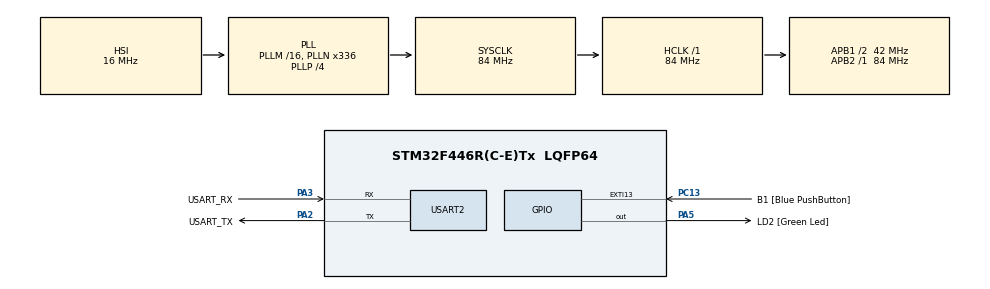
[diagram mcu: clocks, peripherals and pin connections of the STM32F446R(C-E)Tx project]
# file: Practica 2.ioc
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Mcu.Family=STM32F4
Mcu.Name=STM32F446R(C-E)Tx
Mcu.Package=LQFP64
NVIC.PriorityGroup=NVIC_PRIORITYGROUP_0
PA13.GPIO_Label=TMS
PA13.Mode=Serial_Wire
PA13.Signal=SYS_JTMS-SWDIO
PA14.GPIO_Label=TCK
PA14.Mode=Serial_Wire
PA14.Signal=SYS_JTCK-SWCLK
PA2.GPIO_Label=USART_TX
PA2.Mode=Asynchronous
PA2.Signal=USART2_TX
PA3.GPIO_Label=USART_RX
PA3.Mode=Asynchronous
PA3.Signal=USART2_RX
PA5.GPIO_Label=LD2 [Green Led]
PA5.Signal=GPIO_Output
PB3.GPIO_Label=SWO
PB3.Signal=SYS_JTDO-SWO
PC13.GPIO_Label=B1 [Blue PushButton]
PC13.GPIO_ModeDefaultEXTI=GPIO_MODE_IT_FALLING
PC13.Signal=GPXTI13
PC14-OSC32_IN.Mode=LSE-External-Oscillator
PC14-OSC32_IN.Signal=RCC_OSC32_IN
PC15-OSC32_OUT.Mode=LSE-External-Oscillator
PC15-OSC32_OUT.Signal=RCC_OSC32_OUT
PH0-OSC_IN.Mode=HSE-External-Oscillator
PH0-OSC_IN.Signal=RCC_OSC_IN
PH1-OSC_OUT.Mode=HSE-External-Oscillator
PH1-OSC_OUT.Signal=RCC_OSC_OUT
ProjectManager.HeapSize=0x200
ProjectManager.StackSize=0x400
ProjectManager.TargetToolchain=STM32CubeIDE
RCC.48MHZClocksFreq_Value=84000000
RCC.AHBFreq_Value=84000000
RCC.APB1CLKDivider=RCC_HCLK_DIV2
RCC.APB1Freq_Value=42000000
RCC.APB1TimFreq_Value=84000000
RCC.APB2Freq_Value=84000000
RCC.APB2TimFreq_Value=84000000
RCC.CortexFreq_Value=84000000
RCC.FLatency-AdvancedSettings=FLASH_LATENCY_2
RCC.HCLKFreq_Value=84000000
RCC.HSE_VALUE=8000000
RCC.HSI_VALUE=16000000
RCC.PLLN=336
RCC.PLLP=RCC_PLLP_DIV4
RCC.SYSCLKFreq_VALUE=84000000
RCC.SYSCLKSource=RCC_SYSCLKSOURCE_PLLCLK
RCC.USBFreq_Value=168000000
RCC.VCOOutputFreq_Value=336000000
USART2.VirtualMode=VM_ASYNC
board=NUCLEO-F446RE

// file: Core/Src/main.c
/* USER CODE BEGIN Header */
/**
  ******************************************************************************
  * @file           : main.c
  * @brief          : Main program body
  ******************************************************************************
  * @attention
  *
  * Copyright (c) 2025 STMicroelectronics.
  * All rights reserved.
  *
  * This software is licensed under terms that can be found in the LICENSE file
  * in the root directory of this software component.
  * If no LICENSE file comes with this software, it is provided AS-IS.
  *
  ******************************************************************************
  */
/* USER CODE END Header */
#include "main.h"

UART_HandleTypeDef huart2;

void SystemClock_Config(void);
static void MX_GPIO_Init(void);
static void MX_USART2_UART_Init(void);

int main(void)
{

  /* MCU Configuration--------------------------------------------------------*/

  /* Reset of all peripherals, Initializes the Flash interface and the Systick. */
  HAL_Init();

  /* Configure the system clock */
  SystemClock_Config();

  /* Initialize all configured peripherals */
  MX_GPIO_Init();
  MX_USART2_UART_Init();
  /* USER CODE BEGIN 2 */
  delay_t ledDelay;

#ifdef EJECUTAR_PRACTICA_2_PUNTO_2
  // Rretardo 100 ms
  delayInit(&ledDelay, 100);
  while (1)
  {
      // verifica si el retardo se cumplió
      if (delayRead(&ledDelay))
      {
          // toggle LED
          HAL_GPIO_TogglePin(LD2_GPIO_Port, LD2_Pin);
      }
  }
#else // Ejectuar punto 3

  const blinkPattern_t blinkPattern[] = {
      {1000, 500, 5},  // 5 veces, periodo 1 s, 50%
      {200,  100, 5},  // 5 veces, periodo 200 ms, 50%
      {100,  50,  5}   // 5 veces, periodo 100 ms, 50%
  };

  const size_t patternSteps = sizeof(blinkPattern)/sizeof(blinkPattern_t);

  uint8_t currentStep   = 0;
  uint8_t repeatCounter = 0;
  bool_t  ledState      = false;

  delayInit(&ledDelay, blinkPattern[currentStep].dutyCycle);
  HAL_GPIO_WritePin(LD2_GPIO_Port, LD2_Pin, GPIO_PIN_RESET);

  while (1)
  {
      if (delayRead(&ledDelay))
      {
          if (ledState)
          {
              HAL_GPIO_WritePin(LD2_GPIO_Port, LD2_Pin, GPIO_PIN_RESET);
              delayWrite(&ledDelay, blinkPattern[currentStep].period - blinkPattern[currentStep].dutyCycle);
              ledState = false;

              repeatCounter++;

              if (repeatCounter >= blinkPattern[currentStep].repeat){
                  repeatCounter = 0;
                  currentStep++;

                  if (currentStep >= patternSteps){
                      currentStep = 0;
                  }
              }
          }
          else
          {
              HAL_GPIO_WritePin(LD2_GPIO_Port, LD2_Pin, GPIO_PIN_SET);
              delayWrite(&ledDelay, blinkPattern[currentStep].dutyCycle);
              ledState = true;
          }
      }
  }
#endif
  /* USER CODE END 3 */
}

void SystemClock_Config(void)
{
  RCC_OscInitTypeDef RCC_OscInitStruct = {0};
  RCC_ClkInitTypeDef RCC_ClkInitStruct = {0};

  /** Configure the main internal regulator output voltage
  */
  __HAL_RCC_PWR_CLK_ENABLE();
  __HAL_PWR_VOLTAGESCALING_CONFIG(PWR_REGULATOR_VOLTAGE_SCALE3);

  /** Initializes the RCC Oscillators according to the specified parameters
  * in the RCC_OscInitTypeDef structure.
  */
  RCC_OscInitStruct.OscillatorType = RCC_OSCILLATORTYPE_HSI;
  RCC_OscInitStruct.HSIState = RCC_HSI_ON;
  RCC_OscInitStruct.HSICalibrationValue = RCC_HSICALIBRATION_DEFAULT;
  RCC_OscInitStruct.PLL.PLLState = RCC_PLL_ON;
  RCC_OscInitStruct.PLL.PLLSource = RCC_PLLSOURCE_HSI;
  RCC_OscInitStruct.PLL.PLLM = 16;
  RCC_OscInitStruct.PLL.PLLN = 336;
  RCC_OscInitStruct.PLL.PLLP = RCC_PLLP_DIV4;
  RCC_OscInitStruct.PLL.PLLQ = 2;
  RCC_OscInitStruct.PLL.PLLR = 2;
  if (HAL_RCC_OscConfig(&RCC_OscInitStruct) != HAL_OK)
  {
    Error_Handler();
  }

  /** Initializes the CPU, AHB and APB buses clocks
  */
  RCC_ClkInitStruct.ClockType = RCC_CLOCKTYPE_HCLK|RCC_CLOCKTYPE_SYSCLK
                              |RCC_CLOCKTYPE_PCLK1|RCC_CLOCKTYPE_PCLK2;
  RCC_ClkInitStruct.SYSCLKSource = RCC_SYSCLKSOURCE_PLLCLK;
  RCC_ClkInitStruct.AHBCLKDivider = RCC_SYSCLK_DIV1;
  RCC_ClkInitStruct.APB1CLKDivider = RCC_HCLK_DIV2;
  RCC_ClkInitStruct.APB2CLKDivider = RCC_HCLK_DIV1;

  if (HAL_RCC_ClockConfig(&RCC_ClkInitStruct, FLASH_LATENCY_2) != HAL_OK)
  {
    Error_Handler();
  }
}

static void MX_USART2_UART_Init(void)
{

  huart2.Instance = USART2;
  huart2.Init.BaudRate = 115200;
  huart2.Init.WordLength = UART_WORDLENGTH_8B;
  huart2.Init.StopBits = UART_STOPBITS_1;
  huart2.Init.Parity = UART_PARITY_NONE;
  huart2.Init.Mode = UART_MODE_TX_RX;
  huart2.Init.HwFlowCtl = UART_HWCONTROL_NONE;
  huart2.Init.OverSampling = UART_OVERSAMPLING_16;
  if (HAL_UART_Init(&huart2) != HAL_OK)
  {
    Error_Handler();
  }

}

static void MX_GPIO_Init(void)
{
  GPIO_InitTypeDef GPIO_InitStruct = {0};

  /* GPIO Ports Clock Enable */
  __HAL_RCC_GPIOC_CLK_ENABLE();
  __HAL_RCC_GPIOH_CLK_ENABLE();
  __HAL_RCC_GPIOA_CLK_ENABLE();
  __HAL_RCC_GPIOB_CLK_ENABLE();

  /*Configure GPIO pin Output Level */
  HAL_GPIO_WritePin(LD2_GPIO_Port, LD2_Pin, GPIO_PIN_RESET);

  /*Configure GPIO pin : B1_Pin */
  GPIO_InitStruct.Pin = B1_Pin;
  GPIO_InitStruct.Mode = GPIO_MODE_IT_FALLING;
  GPIO_InitStruct.Pull = GPIO_NOPULL;
  HAL_GPIO_Init(B1_GPIO_Port, &GPIO_InitStruct);

  /*Configure GPIO pin : LD2_Pin */
  GPIO_InitStruct.Pin = LD2_Pin;
  GPIO_InitStruct.Mode = GPIO_MODE_OUTPUT_PP;
  GPIO_InitStruct.Pull = GPIO_NOPULL;
  GPIO_InitStruct.Speed = GPIO_SPEED_FREQ_LOW;
  HAL_GPIO_Init(LD2_GPIO_Port, &GPIO_InitStruct);

}

/* USER CODE BEGIN 4 */
void delayInit( delay_t * delay, tick_t duration ){
    if(delay == NULL || duration == 0)
        return;

    delay->duration = duration;
    delay->running = false;
    delay->startTime = 0;
}

bool_t delayRead( delay_t * delay ){
    if(delay == NULL)
        return false;

    if(!delay->running){
        delay->startTime = HAL_GetTick();
        delay->running = true;
        return false;
    }
    else{
        tick_t currentTime = HAL_GetTick();
        if((currentTime - delay->startTime) >= delay->duration){
            delay->running = false;
            return true;
        }
        else{
            return false;
        }
    }
}

void delayWrite( delay_t * delay, tick_t duration ){
    if(delay == NULL || duration == 0)
        return;

    delay->duration = duration;
}

/* USER CODE END 4 */

void Error_Handler(void)
{
  __disable_irq();
  while (1)
  {
  }
}
